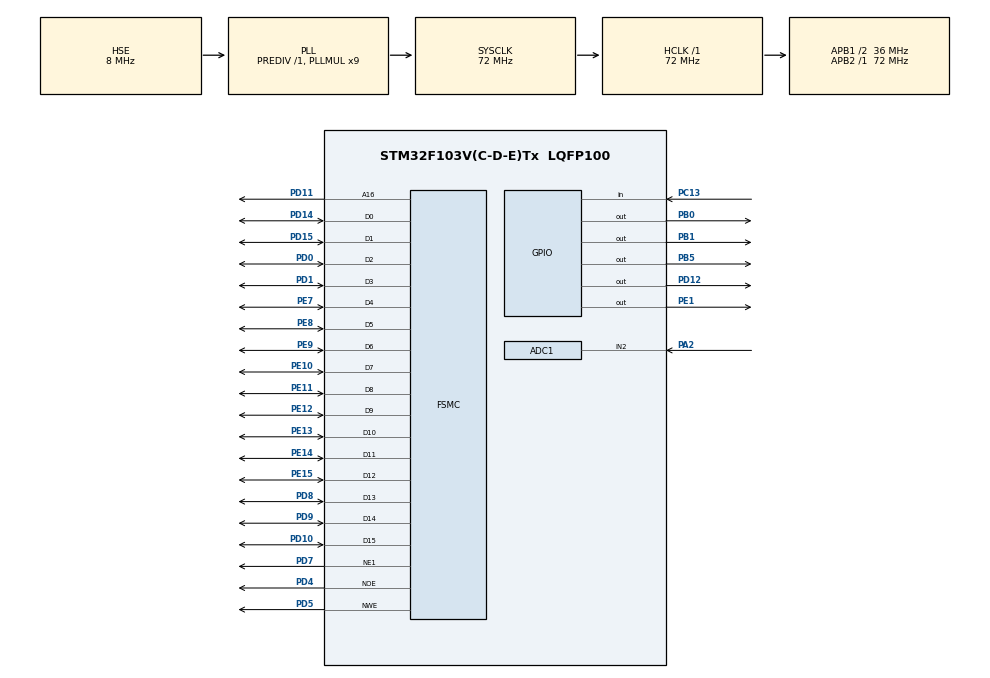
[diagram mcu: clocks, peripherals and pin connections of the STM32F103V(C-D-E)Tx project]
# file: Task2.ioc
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ADC1.Channel-1\#ChannelRegularConversion=ADC_CHANNEL_2
ADC1.ContinuousConvMode=ENABLE
ADC1.NbrOfConversionFlag=1
ADC1.Rank-1\#ChannelRegularConversion=1
ADC1.SamplingTime-1\#ChannelRegularConversion=ADC_SAMPLETIME_1CYCLE_5
ADC1.master=1
Mcu.Family=STM32F1
Mcu.Name=STM32F103V(C-D-E)Tx
Mcu.Package=LQFP100
NVIC.PriorityGroup=NVIC_PRIORITYGROUP_4
OSC_IN.Mode=HSE-External-Oscillator
OSC_IN.Signal=RCC_OSC_IN
OSC_OUT.Mode=HSE-External-Oscillator
OSC_OUT.Signal=RCC_OSC_OUT
PA13.Mode=Serial_Wire
PA13.Signal=SYS_JTMS-SWDIO
PA14.Mode=Serial_Wire
PA14.Signal=SYS_JTCK-SWCLK
PA2.Signal=ADCx_IN2
PB0.GPIO_Speed=GPIO_SPEED_FREQ_HIGH
PB0.PinState=GPIO_PIN_SET
PB0.Signal=GPIO_Output
PB1.GPIO_Speed=GPIO_SPEED_FREQ_HIGH
PB1.PinState=GPIO_PIN_SET
PB1.Signal=GPIO_Output
PB5.GPIO_Speed=GPIO_SPEED_FREQ_HIGH
PB5.PinState=GPIO_PIN_SET
PB5.Signal=GPIO_Output
PC13-TAMPER-RTC.GPIO_PuPd=GPIO_PULLDOWN
PC13-TAMPER-RTC.Signal=GPIO_Input
PC14-OSC32_IN.Mode=LSE-External-Oscillator
PC14-OSC32_IN.Signal=RCC_OSC32_IN
PC15-OSC32_OUT.Mode=LSE-External-Oscillator
PC15-OSC32_OUT.Signal=RCC_OSC32_OUT
PD0.Mode=16b-d1
PD0.Signal=FSMC_D2
PD1.Mode=16b-d1
PD1.Signal=FSMC_D3
PD10.Mode=16b-d1
PD10.Signal=FSMC_D15
PD11.Mode=A16_1
PD11.Signal=FSMC_A16
PD12.GPIO_Speed=GPIO_SPEED_FREQ_HIGH
PD12.Signal=GPIO_Output
PD14.Mode=16b-d1
PD14.Signal=FSMC_D0
PD15.Mode=16b-d1
PD15.Signal=FSMC_D1
PD4.Mode=Lcd1
PD4.Signal=FSMC_NOE
PD5.Mode=Lcd1
PD5.Signal=FSMC_NWE
PD7.Mode=NorPsramChipSelect1_1
PD7.Signal=FSMC_NE1
PD8.Mode=16b-d1
PD8.Signal=FSMC_D13
PD9.Mode=16b-d1
PD9.Signal=FSMC_D14
PE1.GPIO_Speed=GPIO_SPEED_FREQ_HIGH
PE1.Signal=GPIO_Output
PE10.Mode=16b-d1
PE10.Signal=FSMC_D7
PE11.Mode=16b-d1
PE11.Signal=FSMC_D8
PE12.Mode=16b-d1
PE12.Signal=FSMC_D9
PE13.Mode=16b-d1
PE13.Signal=FSMC_D10
PE14.Mode=16b-d1
PE14.Signal=FSMC_D11
PE15.Mode=16b-d1
PE15.Signal=FSMC_D12
PE7.Mode=16b-d1
PE7.Signal=FSMC_D4
PE8.Mode=16b-d1
PE8.Signal=FSMC_D5
PE9.Mode=16b-d1
PE9.Signal=FSMC_D6
ProjectManager.HeapSize=0x200
ProjectManager.StackSize=0x400
ProjectManager.TargetToolchain=MDK-ARM V5
RCC.ADCPresc=RCC_ADCPCLK2_DIV6
RCC.AHBFreq_Value=72000000
RCC.APB1CLKDivider=RCC_HCLK_DIV2
RCC.APB1Freq_Value=36000000
RCC.APB1TimFreq_Value=72000000
RCC.APB2Freq_Value=72000000
RCC.APB2TimFreq_Value=72000000
RCC.HCLKFreq_Value=72000000
RCC.PLLMUL=RCC_PLL_MUL9
RCC.PLLSourceVirtual=RCC_PLLSOURCE_HSE
RCC.SYSCLKFreq_VALUE=72000000
RCC.SYSCLKSource=RCC_SYSCLKSOURCE_PLLCLK
RCC.USBFreq_Value=72000000
SH.ADCx_IN2.0=ADC1_IN2,IN2
board=custom

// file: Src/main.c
/* USER CODE BEGIN Header */
/**
  ******************************************************************************
  * @file           : main.c
  * @brief          : Main program body
  ******************************************************************************
  * @attention
  *
  * <h2><center>&copy; Copyright (c) 2021 STMicroelectronics.
  * All rights reserved.</center></h2>
  *
  * This software component is licensed by ST under BSD 3-Clause license,
  * the "License"; You may not use this file except in compliance with the
  * License. You may obtain a copy of the License at:
  *                        opensource.org/licenses/BSD-3-Clause
  *
  ******************************************************************************
  */
/* USER CODE END Header */

#include "main.h"

/* USER CODE BEGIN Includes */
#include "lcd.h"
/* USER CODE END Includes */

ADC_HandleTypeDef hadc1;

SRAM_HandleTypeDef hsram1;

void SystemClock_Config(void);
static void MX_GPIO_Init(void);
static void MX_ADC1_Init(void);
static void MX_FSMC_Init(void);

int main(void)
{

  /* MCU Configuration--------------------------------------------------------*/

  /* Reset of all peripherals, Initializes the Flash interface and the Systick. */
  HAL_Init();

  /* Configure the system clock */
  SystemClock_Config();

  /* Initialize all configured peripherals */
  MX_GPIO_Init();
  MX_ADC1_Init();
  MX_FSMC_Init();
  /* USER CODE BEGIN 2 */
	LCD_INIT();
	HAL_ADCEx_Calibration_Start(&hadc1);
	uint32_t value = 0;
	HAL_ADC_Start(&hadc1);

	uint32_t low_intensity = 200;
	uint32_t large_intensity = 3200;
	uint8_t num_interval = 5;
	uint32_t interval = (large_intensity - low_intensity)/num_interval;
  /* USER CODE END 2 */

  /* Infinite loop */
  while (1)
  {

    /* USER CODE BEGIN 3 */

		LCD_DrawString(100,0, "DEC");
		LCD_DrawString(150,0, "HEX");
		LCD_DrawString(0, 15, "ADC Value : ");

		//LCD_Clear(100, 15, 150, 30, WHITE);
		//HAL_ADC_PollForConversion(&hadc1, 1000);
		value = HAL_ADC_GetValue(&hadc1);
		LCD_DrawValue(100, 15, (value));
		LCD_DrawValueHex(150, 15, (value));

		if(value<200+interval*1){
					HAL_GPIO_WritePin(GPIOB, GPIO_PIN_5, GPIO_PIN_SET); // R
					HAL_GPIO_WritePin(GPIOB, GPIO_PIN_0, GPIO_PIN_SET); // G
					HAL_GPIO_WritePin(GPIOB, GPIO_PIN_1, GPIO_PIN_SET); // B
		}
		else if(value<200+interval*2){
					HAL_GPIO_WritePin(GPIOB, GPIO_PIN_5, GPIO_PIN_SET); // R
					HAL_GPIO_WritePin(GPIOB, GPIO_PIN_0, GPIO_PIN_SET); // G
					HAL_GPIO_WritePin(GPIOB, GPIO_PIN_1, GPIO_PIN_RESET); // B
		}
		else if(value<200+interval*3){
					HAL_GPIO_WritePin(GPIOB, GPIO_PIN_5, GPIO_PIN_SET); // R
					HAL_GPIO_WritePin(GPIOB, GPIO_PIN_0, GPIO_PIN_RESET); // G
					HAL_GPIO_WritePin(GPIOB, GPIO_PIN_1, GPIO_PIN_SET); // B
		}
		else if(value<200+interval*4){
					HAL_GPIO_WritePin(GPIOB, GPIO_PIN_5, GPIO_PIN_RESET); // R
					HAL_GPIO_WritePin(GPIOB, GPIO_PIN_0, GPIO_PIN_SET); // G
					HAL_GPIO_WritePin(GPIOB, GPIO_PIN_1, GPIO_PIN_SET); // B
		}
		else{
					HAL_GPIO_WritePin(GPIOB, GPIO_PIN_5, GPIO_PIN_RESET); // R
					HAL_GPIO_WritePin(GPIOB, GPIO_PIN_0, GPIO_PIN_RESET); // G
					HAL_GPIO_WritePin(GPIOB, GPIO_PIN_1, GPIO_PIN_RESET); // B
		}

  }
  /* USER CODE END 3 */
}

void SystemClock_Config(void)
{
  RCC_OscInitTypeDef RCC_OscInitStruct = {0};
  RCC_ClkInitTypeDef RCC_ClkInitStruct = {0};
  RCC_PeriphCLKInitTypeDef PeriphClkInit = {0};

  /** Initializes the CPU, AHB and APB busses clocks
  */
  RCC_OscInitStruct.OscillatorType = RCC_OSCILLATORTYPE_HSE;
  RCC_OscInitStruct.HSEState = RCC_HSE_ON;
  RCC_OscInitStruct.HSEPredivValue = RCC_HSE_PREDIV_DIV1;
  RCC_OscInitStruct.HSIState = RCC_HSI_ON;
  RCC_OscInitStruct.PLL.PLLState = RCC_PLL_ON;
  RCC_OscInitStruct.PLL.PLLSource = RCC_PLLSOURCE_HSE;
  RCC_OscInitStruct.PLL.PLLMUL = RCC_PLL_MUL9;
  if (HAL_RCC_OscConfig(&RCC_OscInitStruct) != HAL_OK)
  {
    Error_Handler();
  }
  /** Initializes the CPU, AHB and APB busses clocks
  */
  RCC_ClkInitStruct.ClockType = RCC_CLOCKTYPE_HCLK|RCC_CLOCKTYPE_SYSCLK
                              |RCC_CLOCKTYPE_PCLK1|RCC_CLOCKTYPE_PCLK2;
  RCC_ClkInitStruct.SYSCLKSource = RCC_SYSCLKSOURCE_PLLCLK;
  RCC_ClkInitStruct.AHBCLKDivider = RCC_SYSCLK_DIV1;
  RCC_ClkInitStruct.APB1CLKDivider = RCC_HCLK_DIV2;
  RCC_ClkInitStruct.APB2CLKDivider = RCC_HCLK_DIV1;

  if (HAL_RCC_ClockConfig(&RCC_ClkInitStruct, FLASH_LATENCY_2) != HAL_OK)
  {
    Error_Handler();
  }
  PeriphClkInit.PeriphClockSelection = RCC_PERIPHCLK_ADC;
  PeriphClkInit.AdcClockSelection = RCC_ADCPCLK2_DIV6;
  if (HAL_RCCEx_PeriphCLKConfig(&PeriphClkInit) != HAL_OK)
  {
    Error_Handler();
  }
}

static void MX_ADC1_Init(void)
{

  ADC_ChannelConfTypeDef sConfig = {0};

  /** Common config
  */
  hadc1.Instance = ADC1;
  hadc1.Init.ScanConvMode = ADC_SCAN_DISABLE;
  hadc1.Init.ContinuousConvMode = ENABLE;
  hadc1.Init.DiscontinuousConvMode = DISABLE;
  hadc1.Init.ExternalTrigConv = ADC_SOFTWARE_START;
  hadc1.Init.DataAlign = ADC_DATAALIGN_RIGHT;
  hadc1.Init.NbrOfConversion = 1;
  if (HAL_ADC_Init(&hadc1) != HAL_OK)
  {
    Error_Handler();
  }
  /** Configure Regular Channel
  */
  sConfig.Channel = ADC_CHANNEL_2;
  sConfig.Rank = ADC_REGULAR_RANK_1;
  sConfig.SamplingTime = ADC_SAMPLETIME_1CYCLE_5;
  if (HAL_ADC_ConfigChannel(&hadc1, &sConfig) != HAL_OK)
  {
    Error_Handler();
  }

}

static void MX_GPIO_Init(void)
{
  GPIO_InitTypeDef GPIO_InitStruct = {0};

  /* GPIO Ports Clock Enable */
  __HAL_RCC_GPIOC_CLK_ENABLE();
  __HAL_RCC_GPIOA_CLK_ENABLE();
  __HAL_RCC_GPIOB_CLK_ENABLE();
  __HAL_RCC_GPIOE_CLK_ENABLE();
  __HAL_RCC_GPIOD_CLK_ENABLE();

  /*Configure GPIO pin Output Level */
  HAL_GPIO_WritePin(GPIOB, GPIO_PIN_0|GPIO_PIN_1|GPIO_PIN_5, GPIO_PIN_SET);

  /*Configure GPIO pin Output Level */
  HAL_GPIO_WritePin(GPIOD, GPIO_PIN_12, GPIO_PIN_RESET);

  /*Configure GPIO pin Output Level */
  HAL_GPIO_WritePin(GPIOE, GPIO_PIN_1, GPIO_PIN_RESET);

  /*Configure GPIO pin : PC13 */
  GPIO_InitStruct.Pin = GPIO_PIN_13;
  GPIO_InitStruct.Mode = GPIO_MODE_INPUT;
  GPIO_InitStruct.Pull = GPIO_PULLDOWN;
  HAL_GPIO_Init(GPIOC, &GPIO_InitStruct);

  /*Configure GPIO pins : PB0 PB1 PB5 */
  GPIO_InitStruct.Pin = GPIO_PIN_0|GPIO_PIN_1|GPIO_PIN_5;
  GPIO_InitStruct.Mode = GPIO_MODE_OUTPUT_PP;
  GPIO_InitStruct.Pull = GPIO_NOPULL;
  GPIO_InitStruct.Speed = GPIO_SPEED_FREQ_HIGH;
  HAL_GPIO_Init(GPIOB, &GPIO_InitStruct);

  /*Configure GPIO pin : PD12 */
  GPIO_InitStruct.Pin = GPIO_PIN_12;
  GPIO_InitStruct.Mode = GPIO_MODE_OUTPUT_PP;
  GPIO_InitStruct.Pull = GPIO_NOPULL;
  GPIO_InitStruct.Speed = GPIO_SPEED_FREQ_HIGH;
  HAL_GPIO_Init(GPIOD, &GPIO_InitStruct);

  /*Configure GPIO pin : PE1 */
  GPIO_InitStruct.Pin = GPIO_PIN_1;
  GPIO_InitStruct.Mode = GPIO_MODE_OUTPUT_PP;
  GPIO_InitStruct.Pull = GPIO_NOPULL;
  GPIO_InitStruct.Speed = GPIO_SPEED_FREQ_HIGH;
  HAL_GPIO_Init(GPIOE, &GPIO_InitStruct);

}

/* FSMC initialization function */
static void MX_FSMC_Init(void)
{

  FSMC_NORSRAM_TimingTypeDef Timing = {0};

  /** Perform the SRAM1 memory initialization sequence
  */
  hsram1.Instance = FSMC_NORSRAM_DEVICE;
  hsram1.Extended = FSMC_NORSRAM_EXTENDED_DEVICE;
  /* hsram1.Init */
  hsram1.Init.NSBank = FSMC_NORSRAM_BANK1;
  hsram1.Init.DataAddressMux = FSMC_DATA_ADDRESS_MUX_DISABLE;
  hsram1.Init.MemoryType = FSMC_MEMORY_TYPE_SRAM;
  hsram1.Init.MemoryDataWidth = FSMC_NORSRAM_MEM_BUS_WIDTH_16;
  hsram1.Init.BurstAccessMode = FSMC_BURST_ACCESS_MODE_DISABLE;
  hsram1.Init.WaitSignalPolarity = FSMC_WAIT_SIGNAL_POLARITY_LOW;
  hsram1.Init.WrapMode = FSMC_WRAP_MODE_DISABLE;
  hsram1.Init.WaitSignalActive = FSMC_WAIT_TIMING_BEFORE_WS;
  hsram1.Init.WriteOperation = FSMC_WRITE_OPERATION_ENABLE;
  hsram1.Init.WaitSignal = FSMC_WAIT_SIGNAL_DISABLE;
  hsram1.Init.ExtendedMode = FSMC_EXTENDED_MODE_DISABLE;
  hsram1.Init.AsynchronousWait = FSMC_ASYNCHRONOUS_WAIT_DISABLE;
  hsram1.Init.WriteBurst = FSMC_WRITE_BURST_DISABLE;
  /* Timing */
  Timing.AddressSetupTime = 15;
  Timing.AddressHoldTime = 15;
  Timing.DataSetupTime = 255;
  Timing.BusTurnAroundDuration = 15;
  Timing.CLKDivision = 16;
  Timing.DataLatency = 17;
  Timing.AccessMode = FSMC_ACCESS_MODE_A;
  /* ExtTiming */

  if (HAL_SRAM_Init(&hsram1, &Timing, NULL) != HAL_OK)
  {
    Error_Handler( );
  }

  /** Disconnect NADV
  */

  __HAL_AFIO_FSMCNADV_DISCONNECTED();

}

void Error_Handler(void)
{
}

/************************ (C) COPYRIGHT STMicroelectronics *****END OF FILE****/
